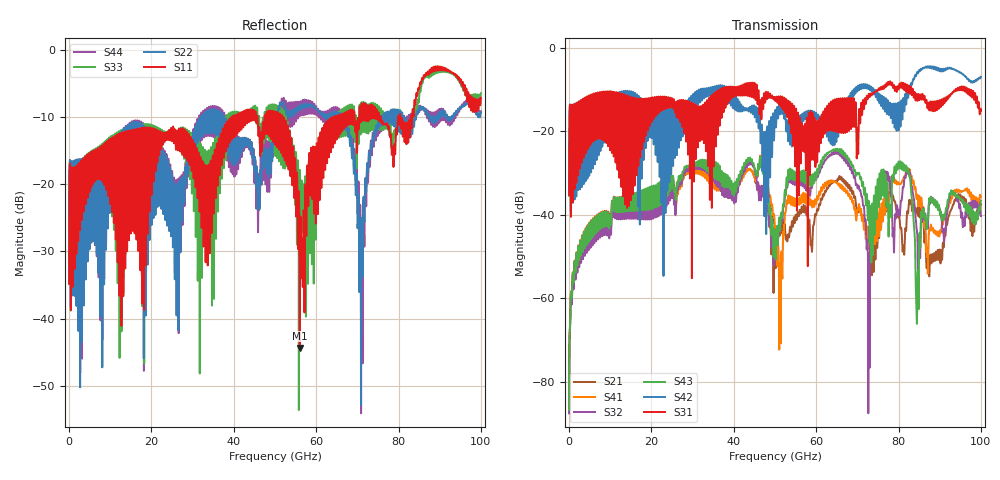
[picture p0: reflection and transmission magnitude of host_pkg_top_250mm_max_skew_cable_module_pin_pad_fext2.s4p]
# Hz S RI R 50
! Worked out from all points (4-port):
!   10000 points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, 10 MHz to 100 GHz, reference 50 ohm
!   strongest paths, dB at 10 MHz, 25.01 GHz, 50.01 GHz, 75.01 GHz, 100 GHz:
!     S31: -35.4, -12.2, -12.0, -10.3, -15.1
!     S42: -35.3, -14.4, -15.0, -11.9, -7.0
!     S43: -86.6, -33.7, -44.3, -32.3, -36.6
!     S32: -87.5, -36.0, -44.7, -32.2, -40.3
!     S41: -86.5, -34.0, -43.6, -39.9, -35.6
!     S21: -86.6, -34.4, -47.0, -43.5, -37.5
!   lowest |S11| = -44.4 dB at 56.02 GHz (marker M1), VSWR 1.01, Z = 49.9 + j0.601 ohm
!   |S11| at or under -10 dB: start of sweep to 39.66 GHz; 51.71 GHz to 64.23 GHz (12.52 GHz wide, 21.6 % of centre); 75.67 GHz to 79.86 GHz (4.191 GHz wide, 5.39 % of centre)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
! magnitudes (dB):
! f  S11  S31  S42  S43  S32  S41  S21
! 10 MHz  -34.8  -35.4  -35.3  -86.6  -87.5  -86.5  -86.6
! 10.9 GHz  -23.3  -18.9  -12.1  -35.8  -36.8  -35.7  -36.0
! 56.02 GHz  -44.4  -16.7  -17.7  -29.7  -31.7  -35.9  -38.8
! 72.98 GHz  -9.0  -11.8  -9.3  -46.7  -62.8  -47.2  -47.5
! 81.86 GHz  -13.2  -10.6  -13.6  -28.2  -29.8  -29.9  -43.7
! 84.51 GHz  -6.9  -12.1  -5.9  -63.9  -44.0  -35.5  -39.1
! 100 GHz  -7.1  -15.1  -7.0  -36.6  -40.3  -35.6  -37.5
